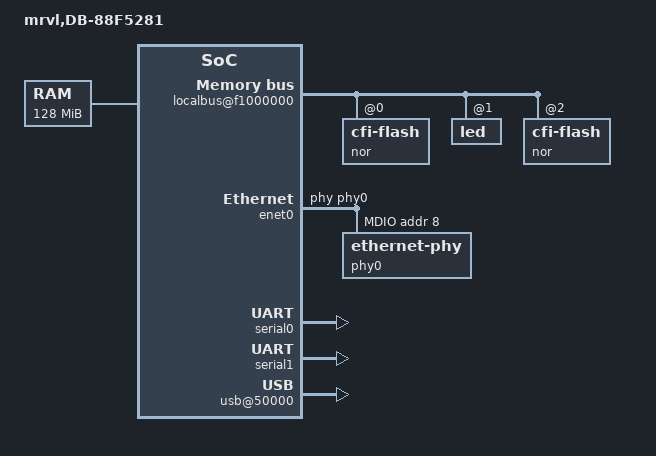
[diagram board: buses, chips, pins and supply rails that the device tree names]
/*
 * Copyright (c) 2010 The FreeBSD Foundation
 * All rights reserved.
 *
 * This software was developed by Semihalf under sponsorship from
 * the FreeBSD Foundation.
 *
 * Redistribution and use in source and binary forms, with or without
 * modification, are permitted provided that the following conditions
 * are met:
 * 1. Redistributions of source code must retain the above copyright
 *    notice, this list of conditions and the following disclaimer.
 * 2. Redistributions in binary form must reproduce the above copyright
 *    notice, this list of conditions and the following disclaimer in the
 *    documentation and/or other materials provided with the distribution.
 *
 * THIS SOFTWARE IS PROVIDED BY THE AUTHOR AND CONTRIBUTORS ``AS IS'' AND
 * ANY EXPRESS OR IMPLIED WARRANTIES, INCLUDING, BUT NOT LIMITED TO, THE
 * IMPLIED WARRANTIES OF MERCHANTABILITY AND FITNESS FOR A PARTICULAR PURPOSE
 * ARE DISCLAIMED. IN NO EVENT SHALL THE AUTHOR OR CONTRIBUTORS BE LIABLE
 * FOR ANY DIRECT, INDIRECT, INCIDENTAL, SPECIAL, EXEMPLARY, OR CONSEQUENTIAL
 * DAMAGES (INCLUDING, BUT NOT LIMITED TO, PROCUREMENT OF SUBSTITUTE GOODS
 * OR SERVICES; LOSS OF USE, DATA, OR PROFITS; OR BUSINESS INTERRUPTION)
 * HOWEVER CAUSED AND ON ANY THEORY OF LIABILITY, WHETHER IN CONTRACT, STRICT
 * LIABILITY, OR TORT (INCLUDING NEGLIGENCE OR OTHERWISE) ARISING IN ANY WAY
 * OUT OF THE USE OF THIS SOFTWARE, EVEN IF ADVISED OF THE POSSIBILITY OF
 * SUCH DAMAGE.
 *
 * Marvell DB-88F5281 Device Tree Source.
 *
 * $FreeBSD$
 */

/dts-v1/;

/ {
	model = "mrvl,DB-88F5281";
	compatible = "DB-88F5281-BP", "DB-88F5281-BP-A";
	#address-cells = <1>;
	#size-cells = <1>;

	aliases {
		ethernet0 = &enet0;
		serial0 = &serial0;
		serial1 = &serial1;
		mpp = &MPP;
	};

	cpus {
		#address-cells = <1>;
		#size-cells = <0>;

		cpu@0 {
			device_type = "cpu";
			compatible = "ARM,88FR531";
			reg = <0x0>;
			d-cache-line-size = <32>;	// 32 bytes
			i-cache-line-size = <32>;	// 32 bytes
			d-cache-size = <0x8000>;	// L1, 32K
			i-cache-size = <0x8000>;	// L1, 32K
			timebase-frequency = <0>;
			bus-frequency = <0>;
			clock-frequency = <0>;
		};
	};

	memory {
		device_type = "memory";
		reg = <0x0 0x08000000>;		// 128M at 0x0
	};

	localbus@f1000000 {
		#address-cells = <2>;
		#size-cells = <1>;
		compatible = "mrvl,lbc";

		/* This reflects CPU decode windows setup. */
		ranges = <0x0 0x0f 0xf9300000 0x00100000
			  0x1 0x1e 0xfa000000 0x00100000
			  0x2 0x1d 0xfa100000 0x02000000>;

		nor@0,0 {
			#address-cells = <1>;
			#size-cells = <1>;
			compatible = "cfi-flash";
			reg = <0x0 0x0 0x00100000>;
			bank-width = <2>;
			device-width = <1>;
		};

		led@1,0 {
			#address-cells = <1>;
			#size-cells = <1>;
			compatible = "led";
			reg = <0x1 0x0 0x00100000>;
		};

		nor@2,0 {
			#address-cells = <1>;
			#size-cells = <1>;
			compatible = "cfi-flash";
			reg = <0x2 0x0 0x02000000>;
			bank-width = <2>;
			device-width = <1>;
		};
	};

	soc88f5281@f1000000 {
		#address-cells = <1>;
		#size-cells = <1>;
		compatible = "simple-bus";
		ranges = <0x0 0xf1000000 0x00100000>;
		bus-frequency = <0>;

		PIC: pic@20200 {
			interrupt-controller;
			#address-cells = <0>;
			#interrupt-cells = <1>;
			reg = <0x20200 0x3c>;
			compatible = "mrvl,pic";
		};

		timer@20300 {
			compatible = "mrvl,timer";
			reg = <0x20300 0x30>;
			interrupts = <0>;
			interrupt-parent = <&PIC>;
			mrvl,has-wdt;
		};

		MPP: mpp@10000 {
			#pin-cells = <2>;
			compatible = "mrvl,mpp";
			reg = <0x10000 0x54>;
			pin-count = <20>;
			pin-map = <
				0  3		/* MPP[0]:  GPIO[0] */
				2  2		/* MPP[2]:  PCI_REQn[3] */
				3  2		/* MPP[3]:  PCI_GNTn[3] */
				4  2		/* MPP[4]:  PCI_REQn[4] */
				5  2		/* MPP[5]:  PCI_GNTn[4] */
				6  3		/* MPP[6]:  <UNKNOWN> */
				7  3		/* MPP[7]:  <UNKNOWN> */
				8  3		/* MPP[8]:  <UNKNOWN> */
				9  3		/* MPP[9]:  <UNKNOWN> */
				14 4		/* MPP[14]: NAND Flash REn[2] */
				15 4		/* MPP[15]: NAND Flash WEn[2] */
				16 0		/* MPP[16]: UA1_RXD */
				17 0		/* MPP[17]: UA1_TXD */
				18 0		/* MPP[18]: UA1_CTS */
				19 0 >;		/* MPP[19]: UA1_RTS */
		};

		GPIO: gpio@10100 {
			#gpio-cells = <2>;
			compatible = "mrvl,gpio";
			reg = <0x10100 0x20>;
			gpio-controller;
			interrupts = <6 7 8 9>;
			interrupt-parent = <&PIC>;
		};

		twsi@11000 {
			#address-cells = <1>;
			#size-cells = <0>;
			compatible = "mrvl,twsi";
			reg = <0x11000 0x20>;
			interrupts = <43>;
			interrupt-parent = <&PIC>;
		};

		enet0: ethernet@72000 {
			#address-cells = <1>;
			#size-cells = <1>;
			model = "V1";
			compatible = "mrvl,ge";
			reg = <0x72000 0x2000>;
			ranges = <0x0 0x72000 0x2000>;
			local-mac-address = [ 00 00 00 00 00 00 ];
			interrupts = <18 19 20 21 22>;
			interrupt-parent = <&PIC>;
			phy-handle = <&phy0>;

			mdio@0 {
				#address-cells = <1>;
				#size-cells = <0>;
				compatible = "mrvl,mdio";

				phy0: ethernet-phy@0 {
					reg = <0x8>;
				};
			};
		};

		serial0: serial@12000 {
			compatible = "ns16550";
			reg = <0x12000 0x20>;
			reg-shift = <2>;
			clock-frequency = <0>;
			interrupts = <3>;
			interrupt-parent = <&PIC>;
		};

		serial1: serial@12100 {
			compatible = "ns16550";
			reg = <0x12100 0x20>;
			reg-shift = <2>;
			clock-frequency = <0>;
			interrupts = <4>;
			interrupt-parent = <&PIC>;
		};

		usb@50000 {
			compatible = "mrvl,usb-ehci", "usb-ehci";
			reg = <0x50000 0x1000>;
			interrupts = <17 16>;
			interrupt-parent = <&PIC>;
		};

		idma@60000 {
			compatible = "mrvl,idma";
			reg = <0x60000 0x1000>;
			interrupts = <24 25 26 27 23>;
			interrupt-parent = <&PIC>;
		};
	};
};
